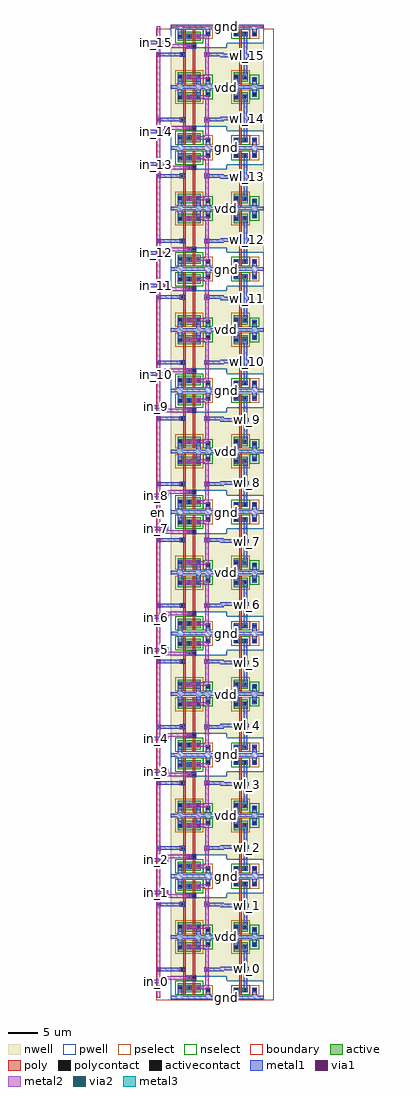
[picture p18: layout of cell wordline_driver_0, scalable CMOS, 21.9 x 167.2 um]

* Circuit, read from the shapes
.subckt wordline_driver_0 en gnd in_0 in_1 in_10 in_11 in_12 in_13 in_14 in_15 in_2 in_3 in_4 in_5 in_6 in_7 in_8 in_9 vdd wl_0 wl_1 wl_10 wl_11 wl_12 wl_13 wl_14 wl_15 wl_2 wl_3 wl_4 wl_5 wl_6 wl_7 wl_8 wl_9
M1 pnand2_0/nmos_m1_w1_600_a_p_2/D en gnd gnd nfet w=1.6u l=0.4u
M2 pnand2_2/nmos_m1_w1_600_a_p_2/D en gnd gnd nfet w=1.6u l=0.4u
M3 pnand2_4/nmos_m1_w1_600_a_p_2/D en gnd gnd nfet w=1.6u l=0.4u
M4 pnand2_6/nmos_m1_w1_600_a_p_2/D en gnd gnd nfet w=1.6u l=0.4u
M5 pnand2_8/nmos_m1_w1_600_a_p_2/D en gnd gnd nfet w=1.6u l=0.4u
M6 pnand2_10/nmos_m1_w1_600_a_p_2/D en gnd gnd nfet w=1.6u l=0.4u
M7 pnand2_12/nmos_m1_w1_600_a_p_2/D en gnd gnd nfet w=1.6u l=0.4u
M8 pnand2_14/nmos_m1_w1_600_a_p_2/D en gnd gnd nfet w=1.6u l=0.4u
M9 pnand2_16/nmos_m1_w1_600_a_p_2/D en gnd gnd nfet w=1.6u l=0.4u
M10 pnand2_18/nmos_m1_w1_600_a_p_2/D en gnd gnd nfet w=1.6u l=0.4u
M11 pnand2_20/nmos_m1_w1_600_a_p_2/D en gnd gnd nfet w=1.6u l=0.4u
M12 pnand2_22/nmos_m1_w1_600_a_p_2/D en gnd gnd nfet w=1.6u l=0.4u
M13 pnand2_24/nmos_m1_w1_600_a_p_2/D en gnd gnd nfet w=1.6u l=0.4u
M14 pnand2_26/nmos_m1_w1_600_a_p_2/D en gnd gnd nfet w=1.6u l=0.4u
M15 pnand2_28/nmos_m1_w1_600_a_p_2/D en gnd gnd nfet w=1.6u l=0.4u
M16 pnand2_30/nmos_m1_w1_600_a_p_2/D en gnd gnd nfet w=1.6u l=0.4u
M17 pdriver_0_1/A in_0 pnand2_0/nmos_m1_w1_600_a_p_2/D gnd nfet w=1.6u l=0.4u
M18 pdriver_0_3/A in_1 pnand2_2/nmos_m1_w1_600_a_p_2/D gnd nfet w=1.6u l=0.4u
M19 pdriver_0_5/A in_2 pnand2_4/nmos_m1_w1_600_a_p_2/D gnd nfet w=1.6u l=0.4u
M20 pdriver_0_7/A in_3 pnand2_6/nmos_m1_w1_600_a_p_2/D gnd nfet w=1.6u l=0.4u
M21 pdriver_0_9/A in_4 pnand2_8/nmos_m1_w1_600_a_p_2/D gnd nfet w=1.6u l=0.4u
M22 pdriver_0_11/A in_5 pnand2_10/nmos_m1_w1_600_a_p_2/D gnd nfet w=1.6u l=0.4u
M23 pdriver_0_13/A in_6 pnand2_12/nmos_m1_w1_600_a_p_2/D gnd nfet w=1.6u l=0.4u
M24 pdriver_0_15/A in_7 pnand2_14/nmos_m1_w1_600_a_p_2/D gnd nfet w=1.6u l=0.4u
M25 pdriver_0_17/A in_8 pnand2_16/nmos_m1_w1_600_a_p_2/D gnd nfet w=1.6u l=0.4u
M26 pdriver_0_19/A in_9 pnand2_18/nmos_m1_w1_600_a_p_2/D gnd nfet w=1.6u l=0.4u
M27 pdriver_0_21/A in_10 pnand2_20/nmos_m1_w1_600_a_p_2/D gnd nfet w=1.6u l=0.4u
M28 pdriver_0_23/A in_11 pnand2_22/nmos_m1_w1_600_a_p_2/D gnd nfet w=1.6u l=0.4u
M29 pdriver_0_25/A in_12 pnand2_24/nmos_m1_w1_600_a_p_2/D gnd nfet w=1.6u l=0.4u
M30 pdriver_0_27/A in_13 pnand2_26/nmos_m1_w1_600_a_p_2/D gnd nfet w=1.6u l=0.4u
M31 pdriver_0_29/A in_14 pnand2_28/nmos_m1_w1_600_a_p_2/D gnd nfet w=1.6u l=0.4u
M32 pdriver_0_31/A in_15 pnand2_30/nmos_m1_w1_600_a_p_2/D gnd nfet w=1.6u l=0.4u
M33 wl_0 pdriver_0_1/A gnd gnd nfet w=0.8u l=0.4u
M34 wl_1 pdriver_0_3/A gnd gnd nfet w=0.8u l=0.4u
M35 wl_2 pdriver_0_5/A gnd gnd nfet w=0.8u l=0.4u
M36 wl_3 pdriver_0_7/A gnd gnd nfet w=0.8u l=0.4u
M37 wl_4 pdriver_0_9/A gnd gnd nfet w=0.8u l=0.4u
M38 wl_5 pdriver_0_11/A gnd gnd nfet w=0.8u l=0.4u
M39 wl_6 pdriver_0_13/A gnd gnd nfet w=0.8u l=0.4u
M40 wl_7 pdriver_0_15/A gnd gnd nfet w=0.8u l=0.4u
M41 wl_8 pdriver_0_17/A gnd gnd nfet w=0.8u l=0.4u
M42 wl_9 pdriver_0_19/A gnd gnd nfet w=0.8u l=0.4u
M43 wl_10 pdriver_0_21/A gnd gnd nfet w=0.8u l=0.4u
M44 wl_11 pdriver_0_23/A gnd gnd nfet w=0.8u l=0.4u
M45 wl_12 pdriver_0_25/A gnd gnd nfet w=0.8u l=0.4u
M46 wl_13 pdriver_0_27/A gnd gnd nfet w=0.8u l=0.4u
M47 wl_14 pdriver_0_29/A gnd gnd nfet w=0.8u l=0.4u
M48 wl_15 pdriver_0_31/A gnd gnd nfet w=0.8u l=0.4u
M49 pdriver_0_1/A en vdd vdd pfet w=1.6u l=0.4u
M50 pdriver_0_3/A en vdd vdd pfet w=1.6u l=0.4u
M51 pdriver_0_5/A en vdd vdd pfet w=1.6u l=0.4u
M52 pdriver_0_7/A en vdd vdd pfet w=1.6u l=0.4u
M53 pdriver_0_9/A en vdd vdd pfet w=1.6u l=0.4u
M54 pdriver_0_11/A en vdd vdd pfet w=1.6u l=0.4u
M55 pdriver_0_13/A en vdd vdd pfet w=1.6u l=0.4u
M56 pdriver_0_15/A en vdd vdd pfet w=1.6u l=0.4u
M57 pdriver_0_17/A en vdd vdd pfet w=1.6u l=0.4u
M58 pdriver_0_19/A en vdd vdd pfet w=1.6u l=0.4u
M59 pdriver_0_21/A en vdd vdd pfet w=1.6u l=0.4u
M60 pdriver_0_23/A en vdd vdd pfet w=1.6u l=0.4u
M61 pdriver_0_25/A en vdd vdd pfet w=1.6u l=0.4u
M62 pdriver_0_27/A en vdd vdd pfet w=1.6u l=0.4u
M63 pdriver_0_29/A en vdd vdd pfet w=1.6u l=0.4u
M64 pdriver_0_31/A en vdd vdd pfet w=1.6u l=0.4u
M65 vdd in_0 pdriver_0_1/A vdd pfet w=1.6u l=0.4u
M66 vdd in_1 pdriver_0_3/A vdd pfet w=1.6u l=0.4u
M67 vdd in_2 pdriver_0_5/A vdd pfet w=1.6u l=0.4u
M68 vdd in_3 pdriver_0_7/A vdd pfet w=1.6u l=0.4u
M69 vdd in_4 pdriver_0_9/A vdd pfet w=1.6u l=0.4u
M70 vdd in_5 pdriver_0_11/A vdd pfet w=1.6u l=0.4u
M71 vdd in_6 pdriver_0_13/A vdd pfet w=1.6u l=0.4u
M72 vdd in_7 pdriver_0_15/A vdd pfet w=1.6u l=0.4u
M73 vdd in_8 pdriver_0_17/A vdd pfet w=1.6u l=0.4u
M74 vdd in_9 pdriver_0_19/A vdd pfet w=1.6u l=0.4u
M75 vdd in_10 pdriver_0_21/A vdd pfet w=1.6u l=0.4u
M76 vdd in_11 pdriver_0_23/A vdd pfet w=1.6u l=0.4u
M77 vdd in_12 pdriver_0_25/A vdd pfet w=1.6u l=0.4u
M78 vdd in_13 pdriver_0_27/A vdd pfet w=1.6u l=0.4u
M79 vdd in_14 pdriver_0_29/A vdd pfet w=1.6u l=0.4u
M80 vdd in_15 pdriver_0_31/A vdd pfet w=1.6u l=0.4u
M81 wl_0 pdriver_0_1/A vdd vdd pfet w=1.6u l=0.4u
M82 wl_1 pdriver_0_3/A vdd vdd pfet w=1.6u l=0.4u
M83 wl_2 pdriver_0_5/A vdd vdd pfet w=1.6u l=0.4u
M84 wl_3 pdriver_0_7/A vdd vdd pfet w=1.6u l=0.4u
M85 wl_4 pdriver_0_9/A vdd vdd pfet w=1.6u l=0.4u
M86 wl_5 pdriver_0_11/A vdd vdd pfet w=1.6u l=0.4u
M87 wl_6 pdriver_0_13/A vdd vdd pfet w=1.6u l=0.4u
M88 wl_7 pdriver_0_15/A vdd vdd pfet w=1.6u l=0.4u
M89 wl_8 pdriver_0_17/A vdd vdd pfet w=1.6u l=0.4u
M90 wl_9 pdriver_0_19/A vdd vdd pfet w=1.6u l=0.4u
M91 wl_10 pdriver_0_21/A vdd vdd pfet w=1.6u l=0.4u
M92 wl_11 pdriver_0_23/A vdd vdd pfet w=1.6u l=0.4u
M93 wl_12 pdriver_0_25/A vdd vdd pfet w=1.6u l=0.4u
M94 wl_13 pdriver_0_27/A vdd vdd pfet w=1.6u l=0.4u
M95 wl_14 pdriver_0_29/A vdd vdd pfet w=1.6u l=0.4u
M96 wl_15 pdriver_0_31/A vdd vdd pfet w=1.6u l=0.4u
.ends

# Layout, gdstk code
import gdstk
lib = gdstk.Library(unit=1e-6, precision=1e-09)
def R(c, l, rs):  # rectangles x0, y0, x1, y1
    for r in rs: c.add(gdstk.rectangle(r[:2], r[2:], *l))
def A(c, l, x, y, w, h, nx, ny, dx, dy):  # array of equal rectangles
    R(c, l, [(x+i*dx, y+j*dy, x+i*dx+w, y+j*dy+h) for i in range(nx) for j in range(ny)])
pwell = (41, 0)
nwell = (42, 0)
active = (43, 0)
pselect = (44, 0)
nselect = (45, 0)
poly = (46, 0)
polycontact = (47, 0)
activecontact = (48, 0)
metal1 = (49, 0)
via1 = (50, 0)
metal2 = (51, 0)
via2 = (61, 0)
metal3 = (62, 0)
boundary = (63, 0)

contact_9 = lib.new_cell('contact_9')
R(contact_9, nwell, [(-1.2,-1.2,2,2)])
R(contact_9, active, [(0,0,0.8,0.8)])
R(contact_9, pselect, [(-0.4,-0.4,1.2,1.2)])
R(contact_9, activecontact, [(0.2,0.2,0.6,0.6)])
R(contact_9, metal1, [(0,0,0.8,0.8)])

pmos_m1_w1_600_a_p = lib.new_cell('pmos_m1_w1_600_a_p')
R(pmos_m1_w1_600_a_p, nwell, [(-1.2,-1.2,3.6,2.8)])
R(pmos_m1_w1_600_a_p, active, [(0,0,2.4,1.6)])
R(pmos_m1_w1_600_a_p, pselect, [(-0.4,-0.4,2.8,2)])
R(pmos_m1_w1_600_a_p, poly, [(1,-0.4,1.4,2), (1,-0.4,1.4,2)])
R(pmos_m1_w1_600_a_p, metal1, [(0,0.4,0.8,1.2), (1.6,0.4,2.4,1.2)])
pmos_m1_w1_600_a_p.add(gdstk.Reference(contact_9, (0,0.4)))
pmos_m1_w1_600_a_p.add(gdstk.Reference(contact_9, (1.6,0.4)))
pmos_m1_w1_600_a_p.add(gdstk.Label('G', (1.2,0.8), layer=46, texttype=0))
pmos_m1_w1_600_a_p.add(gdstk.Label('S', (0.4,0.8), layer=49, texttype=0))
pmos_m1_w1_600_a_p.add(gdstk.Label('D', (2,0.8), layer=49, texttype=0))

contact_14 = lib.new_cell('contact_14')
R(contact_14, pwell, [(-1.2,-1.2,2,2)])
R(contact_14, active, [(0,0,0.8,0.8)])
R(contact_14, nselect, [(-0.4,-0.4,1.2,1.2)])
R(contact_14, activecontact, [(0.2,0.2,0.6,0.6)])
R(contact_14, metal1, [(0,0,0.8,0.8)])

nmos_m1_w1_600_a_p = lib.new_cell('nmos_m1_w1_600_a_p')
R(nmos_m1_w1_600_a_p, pwell, [(-1.2,-1.2,3.6,2.8)])
R(nmos_m1_w1_600_a_p, active, [(0,0,2.4,1.6)])
R(nmos_m1_w1_600_a_p, nselect, [(-0.4,-0.4,2.8,2)])
R(nmos_m1_w1_600_a_p, poly, [(1,-0.4,1.4,2), (1,-0.4,1.4,2)])
R(nmos_m1_w1_600_a_p, metal1, [(0,0.4,0.8,1.2), (1.6,0.4,2.4,1.2)])
nmos_m1_w1_600_a_p.add(gdstk.Reference(contact_14, (0,0.4)))
nmos_m1_w1_600_a_p.add(gdstk.Reference(contact_14, (1.6,0.4)))
nmos_m1_w1_600_a_p.add(gdstk.Label('G', (1.2,0.8), layer=46, texttype=0))
nmos_m1_w1_600_a_p.add(gdstk.Label('S', (0.4,0.8), layer=49, texttype=0))
nmos_m1_w1_600_a_p.add(gdstk.Label('D', (2,0.8), layer=49, texttype=0))

contact_15 = lib.new_cell('contact_15')
R(contact_15, nwell, [(-1.2,-1.2,2,2)])
R(contact_15, active, [(0,0,0.8,0.8)])
R(contact_15, nselect, [(-0.4,-0.4,1.2,1.2)])
R(contact_15, activecontact, [(0.2,0.2,0.6,0.6)])
R(contact_15, metal1, [(0,0,0.8,0.8)])

contact_16 = lib.new_cell('contact_16')
R(contact_16, pwell, [(-1.2,-1.2,2,2)])
R(contact_16, active, [(0,0,0.8,0.8)])
R(contact_16, pselect, [(-0.4,-0.4,1.2,1.2)])
R(contact_16, activecontact, [(0.2,0.2,0.6,0.6)])
R(contact_16, metal1, [(0,0,0.8,0.8)])

contact_10 = lib.new_cell('contact_10')
R(contact_10, poly, [(0,0,0.8,0.8)])
R(contact_10, polycontact, [(0.2,0.2,0.6,0.6)])
R(contact_10, metal1, [(0,0,0.8,0.8)])

contact_17 = lib.new_cell('contact_17')
R(contact_17, metal1, [(0,0,0.8,0.8)])
R(contact_17, via1, [(0.2,0.2,0.6,0.6)])
R(contact_17, metal2, [(0,0,0.8,0.8)])

contact_18 = lib.new_cell('contact_18')
R(contact_18, metal1, [(0,0,0.8,0.8)])
R(contact_18, via1, [(0.2,0.2,0.6,0.6)])
R(contact_18, metal2, [(0,0,0.8,0.8)])

pnand2 = lib.new_cell('pnand2')
R(pnand2, pwell, [(0,-0.3,9.6,3.7)])
R(pnand2, nwell, [(0,3.7,9.6,10.7)])
R(pnand2, poly, [(2.2,0.5,2.6,7.5), (3.8,0.5,4.2,7.5), (3.8,3,4,3.8), (2,4.4,2.2,5.2)])
R(pnand2, metal1, [(0,-0.3,9.6,0.3), (1.2,-0.3,2,1.3), (6,0,6.8,1.3), (3.6,3,4.4,3.8), (1.6,4.4,2.4,5.2), (5.8,4.4,6.6,5.2), (1.2,8.3,2,10.7), (4.4,8.3,5.2,10.7), (6,9.1,6.8,10.4), (0,10.1,9.6,10.7)])
R(pnand2, metal2, [(4.8,1.4,6.2,2), (5.9,1.4,6.5,2), (5.9,1.7,6.5,4.8), (5.9,4.8,6.5,8.7), (3.2,8.4,6.2,9), (5.9,8.4,6.5,9)])
R(pnand2, boundary, [(0,0,9.6,10.4)])
pnand2.add(gdstk.Reference(pmos_m1_w1_600_a_p, (1.2,7.9)))
pnand2.add(gdstk.Reference(pmos_m1_w1_600_a_p, (2.8,7.9)))
pnand2.add(gdstk.Reference(nmos_m1_w1_600_a_p, (1.2,0.9)))
pnand2.add(gdstk.Reference(nmos_m1_w1_600_a_p, (2.8,0.9)))
pnand2.add(gdstk.Reference(contact_15, (6,8.7)))
pnand2.add(gdstk.Reference(contact_16, (6,0.9)))
pnand2.add(gdstk.Reference(contact_10, (3.6,3)))
pnand2.add(gdstk.Reference(contact_10, (1.6,4.4)))
pnand2.add(gdstk.Reference(contact_17, (2.8,8.3)))
pnand2.add(gdstk.Reference(contact_17, (4.4,1.3)))
pnand2.add(gdstk.Reference(contact_18, (5.8,4.4)))
pnand2.add(gdstk.Label('gnd', (4.8,0), layer=49, texttype=0))
pnand2.add(gdstk.Label('vdd', (4.8,10.4), layer=49, texttype=0))
pnand2.add(gdstk.Label('B', (4,3.4), layer=49, texttype=0))
pnand2.add(gdstk.Label('A', (2,4.8), layer=49, texttype=0))
pnand2.add(gdstk.Label('Z', (6.2,4.8), layer=49, texttype=0))

nmos_m1_w0_800_a_p = lib.new_cell('nmos_m1_w0_800_a_p')
R(nmos_m1_w0_800_a_p, pwell, [(-1.2,-1.2,3.6,2)])
R(nmos_m1_w0_800_a_p, active, [(0,0,2.4,0.8)])
R(nmos_m1_w0_800_a_p, nselect, [(-0.4,-0.4,2.8,1.2)])
R(nmos_m1_w0_800_a_p, poly, [(1,-0.4,1.4,1.2), (1,-0.4,1.4,1.2)])
R(nmos_m1_w0_800_a_p, metal1, [(0,0,0.8,0.8), (1.6,0,2.4,0.8)])
nmos_m1_w0_800_a_p.add(gdstk.Reference(contact_14, (0,0)))
nmos_m1_w0_800_a_p.add(gdstk.Reference(contact_14, (1.6,0)))
nmos_m1_w0_800_a_p.add(gdstk.Label('G', (1.2,0.4), layer=46, texttype=0))
nmos_m1_w0_800_a_p.add(gdstk.Label('S', (0.4,0.4), layer=49, texttype=0))
nmos_m1_w0_800_a_p.add(gdstk.Label('D', (2,0.4), layer=49, texttype=0))

pinv_1 = lib.new_cell('pinv_1')
R(pinv_1, pwell, [(0,-0.3,6.4,2.9)])
R(pinv_1, nwell, [(0,2.9,6.4,10.7)])
R(pinv_1, poly, [(2.2,0.5,2.6,7.5), (1.8,4.6,2.2,5.4)])
R(pinv_1, metal1, [(0,-0.3,6.4,0.3), (1.2,-0.3,2,0.9), (4.4,0,5.2,1.3), (2.9,0.9,3.5,9.1), (1.4,4.6,2.2,5.4), (3.2,4.7,3.8,5.3), (1.2,8.3,2,10.7), (4.4,9.1,5.2,10.4), (0,10.1,6.4,10.7)])
R(pinv_1, boundary, [(0,0,6.4,10.4)])
pinv_1.add(gdstk.Reference(pmos_m1_w1_600_a_p, (1.2,7.9)))
pinv_1.add(gdstk.Reference(nmos_m1_w0_800_a_p, (1.2,0.9)))
pinv_1.add(gdstk.Reference(contact_15, (4.4,8.7)))
pinv_1.add(gdstk.Reference(contact_16, (4.4,0.9)))
pinv_1.add(gdstk.Reference(contact_10, (1.4,4.6)))
pinv_1.add(gdstk.Label('gnd', (3.2,0), layer=49, texttype=0))
pinv_1.add(gdstk.Label('vdd', (3.2,10.4), layer=49, texttype=0))
pinv_1.add(gdstk.Label('A', (1.8,5), layer=49, texttype=0))
pinv_1.add(gdstk.Label('Z', (3.5,5), layer=49, texttype=0))

pdriver_0 = lib.new_cell('pdriver_0')
R(pdriver_0, metal1, [(0,-0.3,0.6,0.3), (1.4,4.6,2.2,5.4), (3.2,4.7,3.8,5.3), (0,10.1,0.6,10.7)])
R(pdriver_0, boundary, [(0,0,6.4,10.4)])
pdriver_0.add(gdstk.Reference(pinv_1, (0,0)))
pdriver_0.add(gdstk.Label('vdd', (0.3,10.4), layer=49, texttype=0))
pdriver_0.add(gdstk.Label('gnd', (0.3,0), layer=49, texttype=0))
pdriver_0.add(gdstk.Label('Z', (3.5,5), layer=49, texttype=0))
pdriver_0.add(gdstk.Label('A', (1.8,5), layer=49, texttype=0))

contact_12 = lib.new_cell('contact_12')
R(contact_12, metal1, [(0,0,0.8,0.8)])
R(contact_12, via1, [(0.2,0.2,0.6,0.6)])
R(contact_12, metal2, [(0,0,0.8,0.8)])

contact_5 = lib.new_cell('contact_5')
R(contact_5, metal1, [(0,0,0.8,0.8)])
R(contact_5, via1, [(0.2,0.2,0.6,0.6)])
R(contact_5, metal2, [(0,0,0.8,0.8)])

contact_6 = lib.new_cell('contact_6')
R(contact_6, metal2, [(0,0,0.8,0.8)])
R(contact_6, via2, [(0.2,0.2,0.6,0.6)])
R(contact_6, metal3, [(0,0,0.8,0.8)])

wordline_driver_0 = lib.new_cell('wordline_driver_0')
R(wordline_driver_0, metal1, [(-1.7,2.9,1.7,3.5), (0.4,4.9,4.1,5.5), (9.1,4.9,11.3,5.5), (11,4.9,11.6,5.5), (11,5.1,11.6,5.7), (11.3,5.1,13.5,5.7), (15.3,5.1,15.9,5.7), (11,5.2,11.6,5.4), (11,15.9,11.6,16.5), (11.3,15.9,13.5,16.5), (15.3,15.9,15.9,16.5), (0.4,16.1,4.1,16.7), (9.1,16.1,11.3,16.7), (11,16.1,11.6,16.7), (11,16.2,11.6,16.4), (-1.7,18.1,1.7,18.7), (-1.7,23.7,1.7,24.3), (0.4,25.7,4.1,26.3), (9.1,25.7,11.3,26.3), (11,25.7,11.6,26.3), (11,25.9,11.6,26.5), (11.3,25.9,13.5,26.5), (15.3,25.9,15.9,26.5), (11,26,11.6,26.2), (11,36.7,11.6,37.3), (11.3,36.7,13.5,37.3), (15.3,36.7,15.9,37.3), (0.4,36.9,4.1,37.5), (9.1,36.9,11.3,37.5), (11,36.9,11.6,37.5), (11,37,11.6,37.2), (-1.7,38.9,1.7,39.5), (-1.7,44.5,1.7,45.1), (0.4,46.5,4.1,47.1), (9.1,46.5,11.3,47.1), (11,46.5,11.6,47.1), (11,46.7,11.6,47.3), (11.3,46.7,13.5,47.3), (15.3,46.7,15.9,47.3), (11,46.8,11.6,47), (11,57.5,11.6,58.1), (11.3,57.5,13.5,58.1), (15.3,57.5,15.9,58.1), (0.4,57.7,4.1,58.3), (9.1,57.7,11.3,58.3), (11,57.7,11.6,58.3), (11,57.8,11.6,58), (-1.7,59.7,1.7,60.3), (-1.7,65.3,1.7,65.9), (0.4,67.3,4.1,67.9), (9.1,67.3,11.3,67.9), (11,67.3,11.6,67.9), (11,67.5,11.6,68.1), (11.3,67.5,13.5,68.1), (15.3,67.5,15.9,68.1), (11,67.6,11.6,67.8), (11,78.3,11.6,78.9), (11.3,78.3,13.5,78.9), (15.3,78.3,15.9,78.9), (0.4,78.5,4.1,79.1), (9.1,78.5,11.3,79.1), (11,78.5,11.6,79.1), (11,78.6,11.6,78.8), (-1.7,80.5,1.7,81.1), (-1.7,86.1,1.7,86.7), (0.4,88.1,4.1,88.7), (9.1,88.1,11.3,88.7), (11,88.1,11.6,88.7), (11,88.3,11.6,88.9), (11.3,88.3,13.5,88.9), (15.3,88.3,15.9,88.9), (11,88.4,11.6,88.6), (11,99.1,11.6,99.7), (11.3,99.1,13.5,99.7), (15.3,99.1,15.9,99.7), (0.4,99.3,4.1,99.9), (9.1,99.3,11.3,99.9), (11,99.3,11.6,99.9), (11,99.4,11.6,99.6), (-1.7,101.3,1.7,101.9), (-1.7,106.9,1.7,107.5), (0.4,108.9,4.1,109.5), (9.1,108.9,11.3,109.5), (11,108.9,11.6,109.5), (11,109.1,11.6,109.7), (11.3,109.1,13.5,109.7), (15.3,109.1,15.9,109.7), (11,109.2,11.6,109.4), (11,119.9,11.6,120.5), (11.3,119.9,13.5,120.5), (15.3,119.9,15.9,120.5), (0.4,120.1,4.1,120.7), (9.1,120.1,11.3,120.7), (11,120.1,11.6,120.7), (11,120.2,11.6,120.4), (-1.7,122.1,1.7,122.7), (-1.7,127.7,1.7,128.3), (0.4,129.7,4.1,130.3), (9.1,129.7,11.3,130.3), (11,129.7,11.6,130.3), (11,129.9,11.6,130.5), (11.3,129.9,13.5,130.5), (15.3,129.9,15.9,130.5), (11,130,11.6,130.2), (11,140.7,11.6,141.3), (11.3,140.7,13.5,141.3), (15.3,140.7,15.9,141.3), (0.4,140.9,4.1,141.5), (9.1,140.9,11.3,141.5), (11,140.9,11.6,141.5), (11,141,11.6,141.2), (-1.7,142.9,1.7,143.5), (-1.7,148.5,1.7,149.1), (0.4,150.5,4.1,151.1), (9.1,150.5,11.3,151.1), (11,150.5,11.6,151.1), (11,150.7,11.6,151.3), (11.3,150.7,13.5,151.3), (15.3,150.7,15.9,151.3), (11,150.8,11.6,151), (11,161.5,11.6,162.1), (11.3,161.5,13.5,162.1), (15.3,161.5,15.9,162.1), (0.4,161.7,4.1,162.3), (9.1,161.7,11.3,162.3), (11,161.7,11.6,162.3), (11,161.8,11.6,162), (-1.7,163.7,1.7,164.3)])
R(wordline_driver_0, metal2, [(0.1,0.4,0.7,166.8), (1.4,3.2,2,3.8), (1.4,3.5,2,4.1), (1.7,3.5,6.1,4.1), (1.4,17.5,2,18.1), (1.7,17.5,6.1,18.1), (1.4,17.8,2,18.4), (1.4,24,2,24.6), (1.4,24.3,2,24.9), (1.7,24.3,6.1,24.9), (1.4,38.3,2,38.9), (1.7,38.3,6.1,38.9), (1.4,38.6,2,39.2), (1.4,44.8,2,45.4), (1.4,45.1,2,45.7), (1.7,45.1,6.1,45.7), (1.4,59.1,2,59.7), (1.7,59.1,6.1,59.7), (1.4,59.4,2,60), (1.4,65.6,2,66.2), (1.4,65.9,2,66.5), (1.7,65.9,6.1,66.5), (1.4,79.9,2,80.5), (1.7,79.9,6.1,80.5), (1.4,80.2,2,80.8), (1.4,86.4,2,87), (1.4,86.7,2,87.3), (1.7,86.7,6.1,87.3), (1.4,100.7,2,101.3), (1.7,100.7,6.1,101.3), (1.4,101,2,101.6), (1.4,107.2,2,107.8), (1.4,107.5,2,108.1), (1.7,107.5,6.1,108.1), (1.4,121.5,2,122.1), (1.7,121.5,6.1,122.1), (1.4,121.8,2,122.4), (1.4,128,2,128.6), (1.4,128.3,2,128.9), (1.7,128.3,6.1,128.9), (1.4,142.3,2,142.9), (1.7,142.3,6.1,142.9), (1.4,142.6,2,143.2), (1.4,148.8,2,149.4), (1.4,149.1,2,149.7), (1.7,149.1,6.1,149.7), (1.4,163.1,2,163.7), (1.7,163.1,6.1,163.7), (1.4,163.4,2,164)])
A(wordline_driver_0, metal3, 11.7, 0, 0.8, 0.8, 1, 17, 0, 10.4)
R(wordline_driver_0, boundary, [(0,0,20.2,166.4)])
wordline_driver_0.add(gdstk.Reference(pnand2, (2.5,0.4)))
wordline_driver_0.add(gdstk.Reference(pdriver_0, (12.1,0.4)))
wordline_driver_0.add(gdstk.Reference(pnand2, (2.5,21.2), x_reflection=True))
wordline_driver_0.add(gdstk.Reference(pdriver_0, (12.1,21.2), x_reflection=True))
wordline_driver_0.add(gdstk.Reference(pnand2, (2.5,21.2)))
wordline_driver_0.add(gdstk.Reference(pdriver_0, (12.1,21.2)))
wordline_driver_0.add(gdstk.Reference(pnand2, (2.5,42), x_reflection=True))
wordline_driver_0.add(gdstk.Reference(pdriver_0, (12.1,42), x_reflection=True))
wordline_driver_0.add(gdstk.Reference(pnand2, (2.5,42)))
wordline_driver_0.add(gdstk.Reference(pdriver_0, (12.1,42)))
wordline_driver_0.add(gdstk.Reference(pnand2, (2.5,62.8), x_reflection=True))
wordline_driver_0.add(gdstk.Reference(pdriver_0, (12.1,62.8), x_reflection=True))
wordline_driver_0.add(gdstk.Reference(pnand2, (2.5,62.8)))
wordline_driver_0.add(gdstk.Reference(pdriver_0, (12.1,62.8)))
wordline_driver_0.add(gdstk.Reference(pnand2, (2.5,83.6), x_reflection=True))
wordline_driver_0.add(gdstk.Reference(pdriver_0, (12.1,83.6), x_reflection=True))
wordline_driver_0.add(gdstk.Reference(pnand2, (2.5,83.6)))
wordline_driver_0.add(gdstk.Reference(pdriver_0, (12.1,83.6)))
wordline_driver_0.add(gdstk.Reference(pnand2, (2.5,104.4), x_reflection=True))
wordline_driver_0.add(gdstk.Reference(pdriver_0, (12.1,104.4), x_reflection=True))
wordline_driver_0.add(gdstk.Reference(pnand2, (2.5,104.4)))
wordline_driver_0.add(gdstk.Reference(pdriver_0, (12.1,104.4)))
wordline_driver_0.add(gdstk.Reference(pnand2, (2.5,125.2), x_reflection=True))
wordline_driver_0.add(gdstk.Reference(pdriver_0, (12.1,125.2), x_reflection=True))
wordline_driver_0.add(gdstk.Reference(pnand2, (2.5,125.2)))
wordline_driver_0.add(gdstk.Reference(pdriver_0, (12.1,125.2)))
wordline_driver_0.add(gdstk.Reference(pnand2, (2.5,146), x_reflection=True))
wordline_driver_0.add(gdstk.Reference(pdriver_0, (12.1,146), x_reflection=True))
wordline_driver_0.add(gdstk.Reference(pnand2, (2.5,146)))
wordline_driver_0.add(gdstk.Reference(pdriver_0, (12.1,146)))
wordline_driver_0.add(gdstk.Reference(pnand2, (2.5,166.8), x_reflection=True))
wordline_driver_0.add(gdstk.Reference(pdriver_0, (12.1,166.8), x_reflection=True))
wordline_driver_0.add(gdstk.Reference(contact_18, (0,4.8)))
wordline_driver_0.add(gdstk.Reference(contact_12, (1.3,2.8)))
wordline_driver_0.add(gdstk.Reference(contact_5, (5.3,3.4)))
wordline_driver_0.add(gdstk.Reference(contact_18, (0,16)))
wordline_driver_0.add(gdstk.Reference(contact_12, (1.3,18)))
wordline_driver_0.add(gdstk.Reference(contact_5, (5.3,17.4)))
wordline_driver_0.add(gdstk.Reference(contact_18, (0,25.6)))
wordline_driver_0.add(gdstk.Reference(contact_12, (1.3,23.6)))
wordline_driver_0.add(gdstk.Reference(contact_5, (5.3,24.2)))
wordline_driver_0.add(gdstk.Reference(contact_18, (0,36.8)))
wordline_driver_0.add(gdstk.Reference(contact_12, (1.3,38.8)))
wordline_driver_0.add(gdstk.Reference(contact_5, (5.3,38.2)))
wordline_driver_0.add(gdstk.Reference(contact_18, (0,46.4)))
wordline_driver_0.add(gdstk.Reference(contact_12, (1.3,44.4)))
wordline_driver_0.add(gdstk.Reference(contact_5, (5.3,45)))
wordline_driver_0.add(gdstk.Reference(contact_18, (0,57.6)))
wordline_driver_0.add(gdstk.Reference(contact_12, (1.3,59.6)))
wordline_driver_0.add(gdstk.Reference(contact_5, (5.3,59)))
wordline_driver_0.add(gdstk.Reference(contact_18, (0,67.2)))
wordline_driver_0.add(gdstk.Reference(contact_12, (1.3,65.2)))
wordline_driver_0.add(gdstk.Reference(contact_5, (5.3,65.8)))
wordline_driver_0.add(gdstk.Reference(contact_18, (0,78.4)))
wordline_driver_0.add(gdstk.Reference(contact_12, (1.3,80.4)))
wordline_driver_0.add(gdstk.Reference(contact_5, (5.3,79.8)))
wordline_driver_0.add(gdstk.Reference(contact_18, (0,88)))
wordline_driver_0.add(gdstk.Reference(contact_12, (1.3,86)))
wordline_driver_0.add(gdstk.Reference(contact_5, (5.3,86.6)))
wordline_driver_0.add(gdstk.Reference(contact_18, (0,99.2)))
wordline_driver_0.add(gdstk.Reference(contact_12, (1.3,101.2)))
wordline_driver_0.add(gdstk.Reference(contact_5, (5.3,100.6)))
wordline_driver_0.add(gdstk.Reference(contact_18, (0,108.8)))
wordline_driver_0.add(gdstk.Reference(contact_12, (1.3,106.8)))
wordline_driver_0.add(gdstk.Reference(contact_5, (5.3,107.4)))
wordline_driver_0.add(gdstk.Reference(contact_18, (0,120)))
wordline_driver_0.add(gdstk.Reference(contact_12, (1.3,122)))
wordline_driver_0.add(gdstk.Reference(contact_5, (5.3,121.4)))
wordline_driver_0.add(gdstk.Reference(contact_18, (0,129.6)))
wordline_driver_0.add(gdstk.Reference(contact_12, (1.3,127.6)))
wordline_driver_0.add(gdstk.Reference(contact_5, (5.3,128.2)))
wordline_driver_0.add(gdstk.Reference(contact_18, (0,140.8)))
wordline_driver_0.add(gdstk.Reference(contact_12, (1.3,142.8)))
wordline_driver_0.add(gdstk.Reference(contact_5, (5.3,142.2)))
wordline_driver_0.add(gdstk.Reference(contact_18, (0,150.4)))
wordline_driver_0.add(gdstk.Reference(contact_12, (1.3,148.4)))
wordline_driver_0.add(gdstk.Reference(contact_5, (5.3,149)))
wordline_driver_0.add(gdstk.Reference(contact_18, (0,161.6)))
wordline_driver_0.add(gdstk.Reference(contact_12, (1.3,163.6)))
wordline_driver_0.add(gdstk.Reference(contact_5, (5.3,163)))
wordline_driver_0.add(gdstk.Reference(contact_5, (11.7,10.4)))
wordline_driver_0.add(gdstk.Reference(contact_6, (11.7,10.4)))
wordline_driver_0.add(gdstk.Reference(contact_5, (11.7,10.4)))
wordline_driver_0.add(gdstk.Reference(contact_6, (11.7,10.4)))
wordline_driver_0.add(gdstk.Reference(contact_5, (11.7,0)))
wordline_driver_0.add(gdstk.Reference(contact_6, (11.7,0)))
wordline_driver_0.add(gdstk.Reference(contact_5, (11.7,0)))
wordline_driver_0.add(gdstk.Reference(contact_6, (11.7,0)))
wordline_driver_0.add(gdstk.Reference(contact_5, (11.7,10.4)))
wordline_driver_0.add(gdstk.Reference(contact_6, (11.7,10.4)))
wordline_driver_0.add(gdstk.Reference(contact_5, (11.7,10.4)))
wordline_driver_0.add(gdstk.Reference(contact_6, (11.7,10.4)))
wordline_driver_0.add(gdstk.Reference(contact_5, (11.7,20.8)))
wordline_driver_0.add(gdstk.Reference(contact_6, (11.7,20.8)))
wordline_driver_0.add(gdstk.Reference(contact_5, (11.7,20.8)))
wordline_driver_0.add(gdstk.Reference(contact_6, (11.7,20.8)))
wordline_driver_0.add(gdstk.Reference(contact_5, (11.7,31.2)))
wordline_driver_0.add(gdstk.Reference(contact_6, (11.7,31.2)))
wordline_driver_0.add(gdstk.Reference(contact_5, (11.7,31.2)))
wordline_driver_0.add(gdstk.Reference(contact_6, (11.7,31.2)))
wordline_driver_0.add(gdstk.Reference(contact_5, (11.7,20.8)))
wordline_driver_0.add(gdstk.Reference(contact_6, (11.7,20.8)))
wordline_driver_0.add(gdstk.Reference(contact_5, (11.7,20.8)))
wordline_driver_0.add(gdstk.Reference(contact_6, (11.7,20.8)))
wordline_driver_0.add(gdstk.Reference(contact_5, (11.7,31.2)))
wordline_driver_0.add(gdstk.Reference(contact_6, (11.7,31.2)))
wordline_driver_0.add(gdstk.Reference(contact_5, (11.7,31.2)))
wordline_driver_0.add(gdstk.Reference(contact_6, (11.7,31.2)))
wordline_driver_0.add(gdstk.Reference(contact_5, (11.7,41.6)))
wordline_driver_0.add(gdstk.Reference(contact_6, (11.7,41.6)))
wordline_driver_0.add(gdstk.Reference(contact_5, (11.7,41.6)))
wordline_driver_0.add(gdstk.Reference(contact_6, (11.7,41.6)))
wordline_driver_0.add(gdstk.Reference(contact_5, (11.7,52)))
wordline_driver_0.add(gdstk.Reference(contact_6, (11.7,52)))
wordline_driver_0.add(gdstk.Reference(contact_5, (11.7,52)))
wordline_driver_0.add(gdstk.Reference(contact_6, (11.7,52)))
wordline_driver_0.add(gdstk.Reference(contact_5, (11.7,41.6)))
wordline_driver_0.add(gdstk.Reference(contact_6, (11.7,41.6)))
wordline_driver_0.add(gdstk.Reference(contact_5, (11.7,41.6)))
wordline_driver_0.add(gdstk.Reference(contact_6, (11.7,41.6)))
wordline_driver_0.add(gdstk.Reference(contact_5, (11.7,52)))
wordline_driver_0.add(gdstk.Reference(contact_6, (11.7,52)))
wordline_driver_0.add(gdstk.Reference(contact_5, (11.7,52)))
wordline_driver_0.add(gdstk.Reference(contact_6, (11.7,52)))
wordline_driver_0.add(gdstk.Reference(contact_5, (11.7,62.4)))
wordline_driver_0.add(gdstk.Reference(contact_6, (11.7,62.4)))
wordline_driver_0.add(gdstk.Reference(contact_5, (11.7,62.4)))
wordline_driver_0.add(gdstk.Reference(contact_6, (11.7,62.4)))
wordline_driver_0.add(gdstk.Reference(contact_5, (11.7,72.8)))
wordline_driver_0.add(gdstk.Reference(contact_6, (11.7,72.8)))
wordline_driver_0.add(gdstk.Reference(contact_5, (11.7,72.8)))
wordline_driver_0.add(gdstk.Reference(contact_6, (11.7,72.8)))
wordline_driver_0.add(gdstk.Reference(contact_5, (11.7,62.4)))
wordline_driver_0.add(gdstk.Reference(contact_6, (11.7,62.4)))
wordline_driver_0.add(gdstk.Reference(contact_5, (11.7,62.4)))
wordline_driver_0.add(gdstk.Reference(contact_6, (11.7,62.4)))
wordline_driver_0.add(gdstk.Reference(contact_5, (11.7,72.8)))
wordline_driver_0.add(gdstk.Reference(contact_6, (11.7,72.8)))
wordline_driver_0.add(gdstk.Reference(contact_5, (11.7,72.8)))
wordline_driver_0.add(gdstk.Reference(contact_6, (11.7,72.8)))
wordline_driver_0.add(gdstk.Reference(contact_5, (11.7,83.2)))
wordline_driver_0.add(gdstk.Reference(contact_6, (11.7,83.2)))
wordline_driver_0.add(gdstk.Reference(contact_5, (11.7,83.2)))
wordline_driver_0.add(gdstk.Reference(contact_6, (11.7,83.2)))
wordline_driver_0.add(gdstk.Reference(contact_5, (11.7,93.6)))
wordline_driver_0.add(gdstk.Reference(contact_6, (11.7,93.6)))
wordline_driver_0.add(gdstk.Reference(contact_5, (11.7,93.6)))
wordline_driver_0.add(gdstk.Reference(contact_6, (11.7,93.6)))
wordline_driver_0.add(gdstk.Reference(contact_5, (11.7,83.2)))
wordline_driver_0.add(gdstk.Reference(contact_6, (11.7,83.2)))
wordline_driver_0.add(gdstk.Reference(contact_5, (11.7,83.2)))
wordline_driver_0.add(gdstk.Reference(contact_6, (11.7,83.2)))
wordline_driver_0.add(gdstk.Reference(contact_5, (11.7,93.6)))
wordline_driver_0.add(gdstk.Reference(contact_6, (11.7,93.6)))
wordline_driver_0.add(gdstk.Reference(contact_5, (11.7,93.6)))
wordline_driver_0.add(gdstk.Reference(contact_6, (11.7,93.6)))
wordline_driver_0.add(gdstk.Reference(contact_5, (11.7,104)))
wordline_driver_0.add(gdstk.Reference(contact_6, (11.7,104)))
wordline_driver_0.add(gdstk.Reference(contact_5, (11.7,104)))
wordline_driver_0.add(gdstk.Reference(contact_6, (11.7,104)))
wordline_driver_0.add(gdstk.Reference(contact_5, (11.7,114.4)))
wordline_driver_0.add(gdstk.Reference(contact_6, (11.7,114.4)))
wordline_driver_0.add(gdstk.Reference(contact_5, (11.7,114.4)))
wordline_driver_0.add(gdstk.Reference(contact_6, (11.7,114.4)))
wordline_driver_0.add(gdstk.Reference(contact_5, (11.7,104)))
wordline_driver_0.add(gdstk.Reference(contact_6, (11.7,104)))
wordline_driver_0.add(gdstk.Reference(contact_5, (11.7,104)))
wordline_driver_0.add(gdstk.Reference(contact_6, (11.7,104)))
wordline_driver_0.add(gdstk.Reference(contact_5, (11.7,114.4)))
wordline_driver_0.add(gdstk.Reference(contact_6, (11.7,114.4)))
wordline_driver_0.add(gdstk.Reference(contact_5, (11.7,114.4)))
wordline_driver_0.add(gdstk.Reference(contact_6, (11.7,114.4)))
wordline_driver_0.add(gdstk.Reference(contact_5, (11.7,124.8)))
wordline_driver_0.add(gdstk.Reference(contact_6, (11.7,124.8)))
wordline_driver_0.add(gdstk.Reference(contact_5, (11.7,124.8)))
wordline_driver_0.add(gdstk.Reference(contact_6, (11.7,124.8)))
wordline_driver_0.add(gdstk.Reference(contact_5, (11.7,135.2)))
wordline_driver_0.add(gdstk.Reference(contact_6, (11.7,135.2)))
wordline_driver_0.add(gdstk.Reference(contact_5, (11.7,135.2)))
wordline_driver_0.add(gdstk.Reference(contact_6, (11.7,135.2)))
wordline_driver_0.add(gdstk.Reference(contact_5, (11.7,124.8)))
wordline_driver_0.add(gdstk.Reference(contact_6, (11.7,124.8)))
wordline_driver_0.add(gdstk.Reference(contact_5, (11.7,124.8)))
wordline_driver_0.add(gdstk.Reference(contact_6, (11.7,124.8)))
wordline_driver_0.add(gdstk.Reference(contact_5, (11.7,135.2)))
wordline_driver_0.add(gdstk.Reference(contact_6, (11.7,135.2)))
wordline_driver_0.add(gdstk.Reference(contact_5, (11.7,135.2)))
wordline_driver_0.add(gdstk.Reference(contact_6, (11.7,135.2)))
wordline_driver_0.add(gdstk.Reference(contact_5, (11.7,145.6)))
wordline_driver_0.add(gdstk.Reference(contact_6, (11.7,145.6)))
wordline_driver_0.add(gdstk.Reference(contact_5, (11.7,145.6)))
wordline_driver_0.add(gdstk.Reference(contact_6, (11.7,145.6)))
wordline_driver_0.add(gdstk.Reference(contact_5, (11.7,156)))
wordline_driver_0.add(gdstk.Reference(contact_6, (11.7,156)))
wordline_driver_0.add(gdstk.Reference(contact_5, (11.7,156)))
wordline_driver_0.add(gdstk.Reference(contact_6, (11.7,156)))
wordline_driver_0.add(gdstk.Reference(contact_5, (11.7,145.6)))
wordline_driver_0.add(gdstk.Reference(contact_6, (11.7,145.6)))
wordline_driver_0.add(gdstk.Reference(contact_5, (11.7,145.6)))
wordline_driver_0.add(gdstk.Reference(contact_6, (11.7,145.6)))
wordline_driver_0.add(gdstk.Reference(contact_5, (11.7,156)))
wordline_driver_0.add(gdstk.Reference(contact_6, (11.7,156)))
wordline_driver_0.add(gdstk.Reference(contact_5, (11.7,156)))
wordline_driver_0.add(gdstk.Reference(contact_6, (11.7,156)))
wordline_driver_0.add(gdstk.Reference(contact_5, (11.7,166.4)))
wordline_driver_0.add(gdstk.Reference(contact_6, (11.7,166.4)))
wordline_driver_0.add(gdstk.Reference(contact_5, (11.7,166.4)))
wordline_driver_0.add(gdstk.Reference(contact_6, (11.7,166.4)))
wordline_driver_0.add(gdstk.Label('en', (0.4,83.6), layer=51, texttype=0))
wordline_driver_0.add(gdstk.Label('in_0', (0,3.2), layer=49, texttype=0))
wordline_driver_0.add(gdstk.Label('wl_0', (15.6,5.4), layer=49, texttype=0))
wordline_driver_0.add(gdstk.Label('in_1', (0,18.4), layer=49, texttype=0))
wordline_driver_0.add(gdstk.Label('wl_1', (15.6,16.2), layer=49, texttype=0))
wordline_driver_0.add(gdstk.Label('in_2', (0,24), layer=49, texttype=0))
wordline_driver_0.add(gdstk.Label('wl_2', (15.6,26.2), layer=49, texttype=0))
wordline_driver_0.add(gdstk.Label('in_3', (0,39.2), layer=49, texttype=0))
wordline_driver_0.add(gdstk.Label('wl_3', (15.6,37), layer=49, texttype=0))
wordline_driver_0.add(gdstk.Label('in_4', (0,44.8), layer=49, texttype=0))
wordline_driver_0.add(gdstk.Label('wl_4', (15.6,47), layer=49, texttype=0))
wordline_driver_0.add(gdstk.Label('in_5', (0,60), layer=49, texttype=0))
wordline_driver_0.add(gdstk.Label('wl_5', (15.6,57.8), layer=49, texttype=0))
wordline_driver_0.add(gdstk.Label('in_6', (0,65.6), layer=49, texttype=0))
wordline_driver_0.add(gdstk.Label('wl_6', (15.6,67.8), layer=49, texttype=0))
wordline_driver_0.add(gdstk.Label('in_7', (0,80.8), layer=49, texttype=0))
wordline_driver_0.add(gdstk.Label('wl_7', (15.6,78.6), layer=49, texttype=0))
wordline_driver_0.add(gdstk.Label('in_8', (0,86.4), layer=49, texttype=0))
wordline_driver_0.add(gdstk.Label('wl_8', (15.6,88.6), layer=49, texttype=0))
wordline_driver_0.add(gdstk.Label('in_9', (0,101.6), layer=49, texttype=0))
wordline_driver_0.add(gdstk.Label('wl_9', (15.6,99.4), layer=49, texttype=0))
wordline_driver_0.add(gdstk.Label('in_10', (0,107.2), layer=49, texttype=0))
wordline_driver_0.add(gdstk.Label('wl_10', (15.6,109.4), layer=49, texttype=0))
wordline_driver_0.add(gdstk.Label('in_11', (0,122.4), layer=49, texttype=0))
wordline_driver_0.add(gdstk.Label('wl_11', (15.6,120.2), layer=49, texttype=0))
wordline_driver_0.add(gdstk.Label('in_12', (0,128), layer=49, texttype=0))
wordline_driver_0.add(gdstk.Label('wl_12', (15.6,130.2), layer=49, texttype=0))
wordline_driver_0.add(gdstk.Label('in_13', (0,143.2), layer=49, texttype=0))
wordline_driver_0.add(gdstk.Label('wl_13', (15.6,141), layer=49, texttype=0))
wordline_driver_0.add(gdstk.Label('in_14', (0,148.8), layer=49, texttype=0))
wordline_driver_0.add(gdstk.Label('wl_14', (15.6,151), layer=49, texttype=0))
wordline_driver_0.add(gdstk.Label('in_15', (0,164), layer=49, texttype=0))
wordline_driver_0.add(gdstk.Label('wl_15', (15.6,161.8), layer=49, texttype=0))
wordline_driver_0.add(gdstk.Label('vdd', (12.1,31.6), layer=62, texttype=0))
wordline_driver_0.add(gdstk.Label('vdd', (12.1,10.8), layer=62, texttype=0))
wordline_driver_0.add(gdstk.Label('vdd', (12.1,135.6), layer=62, texttype=0))
wordline_driver_0.add(gdstk.Label('vdd', (12.1,114.8), layer=62, texttype=0))
wordline_driver_0.add(gdstk.Label('vdd', (12.1,52.4), layer=62, texttype=0))
wordline_driver_0.add(gdstk.Label('vdd', (12.1,73.2), layer=62, texttype=0))
wordline_driver_0.add(gdstk.Label('vdd', (12.1,94), layer=62, texttype=0))
wordline_driver_0.add(gdstk.Label('vdd', (12.1,156.4), layer=62, texttype=0))
wordline_driver_0.add(gdstk.Label('gnd', (12.1,104.4), layer=62, texttype=0))
wordline_driver_0.add(gdstk.Label('gnd', (12.1,83.6), layer=62, texttype=0))
wordline_driver_0.add(gdstk.Label('gnd', (12.1,125.2), layer=62, texttype=0))
wordline_driver_0.add(gdstk.Label('gnd', (12.1,146), layer=62, texttype=0))
wordline_driver_0.add(gdstk.Label('gnd', (12.1,0.4), layer=62, texttype=0))
wordline_driver_0.add(gdstk.Label('gnd', (12.1,21.2), layer=62, texttype=0))
wordline_driver_0.add(gdstk.Label('gnd', (12.1,42), layer=62, texttype=0))
wordline_driver_0.add(gdstk.Label('gnd', (12.1,62.8), layer=62, texttype=0))
wordline_driver_0.add(gdstk.Label('gnd', (12.1,166.8), layer=62, texttype=0))

lib.write_gds('wordline_driver_0.gds')
